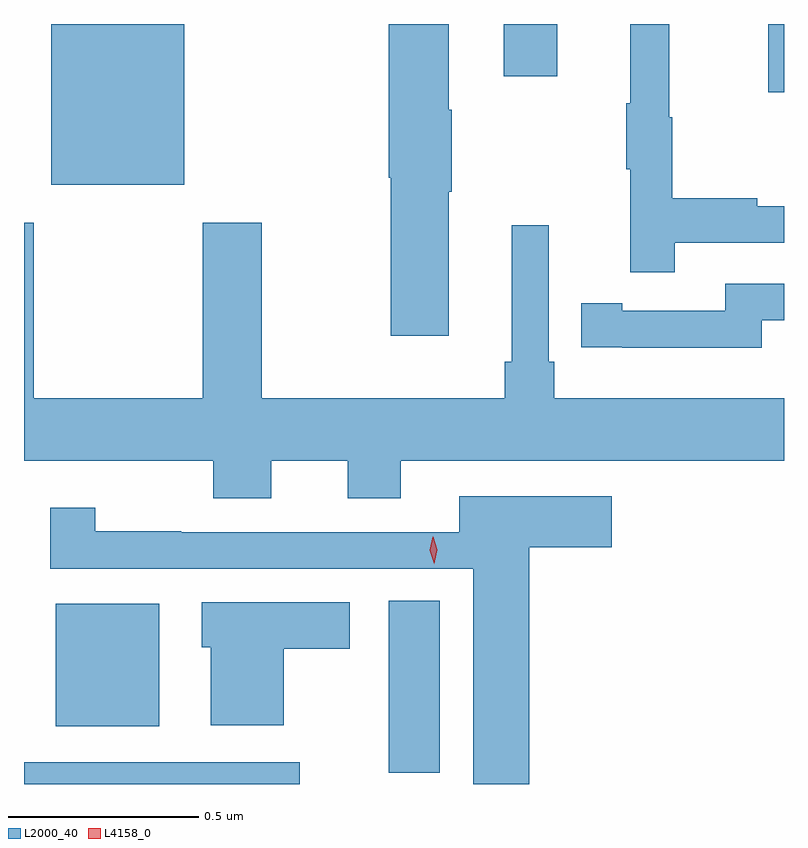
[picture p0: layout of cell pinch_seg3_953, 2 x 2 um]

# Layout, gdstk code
import gdstk
lib = gdstk.Library(unit=1e-6, precision=1e-09)
def R(c, l, rs):  # rectangles x0, y0, x1, y1
    for r in rs: c.add(gdstk.rectangle(r[:2], r[2:], *l))
def P(c, l, *ps):  # polygons
    for p in ps: c.add(gdstk.Polygon(p, *l))
L2000_40 = (2000, 40)
L4158_0 = (4158, 0)

pinch_seg3_953 = lib.new_cell('pinch_seg3_953')
R(pinch_seg3_953, L2000_40, [(508.268,708.057,508.993,708.114), (509.228,708.087,509.362,708.539), (508.352,708.209,508.624,708.532), (508.34,709.634,508.69,710.057), (510.227,709.878,510.268,710.057), (509.531,709.92,509.671,710.057)])
P(pinch_seg3_953, L2000_40, [(509.386,709.615),(509.394,709.615),(509.394,709.832),(509.386,709.832),(509.386,710.057),(509.228,710.057),(509.228,709.653),(509.233,709.653),(509.233,709.236),(509.386,709.236)],
  [(509.981,709.482),(510.268,709.482),(510.268,709.578),(510.197,709.578),(510.197,709.598),(509.974,709.598),(509.974,709.812),(509.966,709.812),(509.966,710.057),(509.864,710.057),(509.864,709.849),(509.853,709.849),(509.853,709.675),(509.864,709.675),(509.864,709.404),(509.981,709.404)],
  [(510.21,709.278),(510.268,709.278),(510.268,709.374),(510.114,709.374),(510.114,709.302),(509.842,709.302),(509.842,709.322),(509.734,709.322),(509.734,709.206),(509.842,709.206),(509.842,709.205),(510.21,709.205)],
  [(509.649,709.168),(509.649,709.528),(509.552,709.528),(509.552,709.168),(509.533,709.168),(509.533,709.072),(508.893,709.072),(508.893,709.534),(508.738,709.534),(508.738,709.072),(508.293,709.072),(508.293,709.534),(508.268,709.534),(508.268,708.908),(508.766,708.908),(508.766,708.809),(508.918,708.809),(508.918,708.908),(509.12,708.908),(509.12,708.809),(509.26,708.809),(509.26,708.908),(510.268,708.908),(510.268,709.072),(509.663,709.072),(509.663,709.168)],
  [(509.597,708.68),(509.815,708.68),(509.815,708.814),(509.414,708.814),(509.414,708.72),(508.682,708.72),(508.682,708.722),(508.455,708.722),(508.455,708.784),(508.337,708.784),(508.337,708.624),(509.45,708.624),(509.45,708.057),(509.597,708.057)],
  [(508.951,708.413),(509.125,708.413),(509.125,708.535),(508.736,708.535),(508.736,708.417),(508.76,708.417),(508.76,708.212),(508.951,708.212)])
P(pinch_seg3_953, L4158_0, [(509.347,708.637),(509.347,708.637),(509.336,708.672),(509.344,708.708),(509.345,708.708),(509.345,708.708),(509.356,708.673),(509.347,708.637)])

lib.write_gds('pinch_seg3_953.gds')
